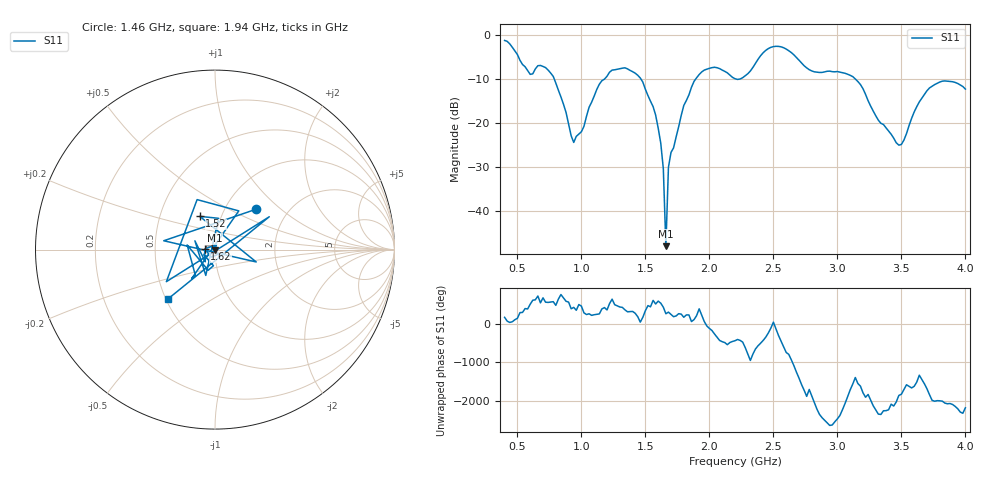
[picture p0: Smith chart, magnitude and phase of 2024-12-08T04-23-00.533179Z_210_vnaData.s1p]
!Created with skrf (http://scikit-rf.org).
# Hz S RI R 50.0
!freq ReS11 ImS11
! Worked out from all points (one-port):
!   181 points, 400 MHz to 4 GHz, reference 50 ohm
!   lowest |S11| = -48.1 dB at 1.66 GHz (marker M1), VSWR 1.01, Z = 49.9 - j0.39 ohm
!   |S11| at or under -10 dB: 787.2 MHz to 1.183 GHz (395.3 MHz wide, 40.1 % of centre); 1.464 GHz to 1.894 GHz (430.6 MHz wide, 25.6 % of centre); 3.138 GHz to end of sweep (the widest 3 of 4)
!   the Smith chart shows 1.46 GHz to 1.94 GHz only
!   S11 on the Smith chart (normalised r, x): 1.46 GHz: 1.39, +0.70; 1.52 GHz: 0.79, +0.31; 1.62 GHz: 0.89, +0.00; 1.94 GHz: 0.51, -0.33
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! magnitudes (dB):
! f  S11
! 400 MHz  -1.3
! 600 MHz  -9.0
! 740 MHz  -8.0
! 860 MHz  -15.8
! 940 MHz  -24.5
! 1.02 GHz  -20.8
! 1.14 GHz  -11.2
! 1.3 GHz  -7.7
! 1.46 GHz  -9.8
! 1.52 GHz  -13.8
! 1.58 GHz  -18.3
! 1.62 GHz  -24.7
! 1.64 GHz  -30.5
! 1.66 GHz  -48.1
! 1.68 GHz  -30.2
! 1.76 GHz  -20.9
! 1.8 GHz  -16.1
! 1.94 GHz  -8.4
! 2.06 GHz  -7.5
! 2.2 GHz  -10.0
! 2.48 GHz  -2.8
! 2.66 GHz  -4.5
! 2.8 GHz  -8.2
! 3.1 GHz  -9.2
! 3.48 GHz  -25.1
! 3.56 GHz  -20.6
! 3.74 GHz  -11.7
! 4 GHz  -12.3
